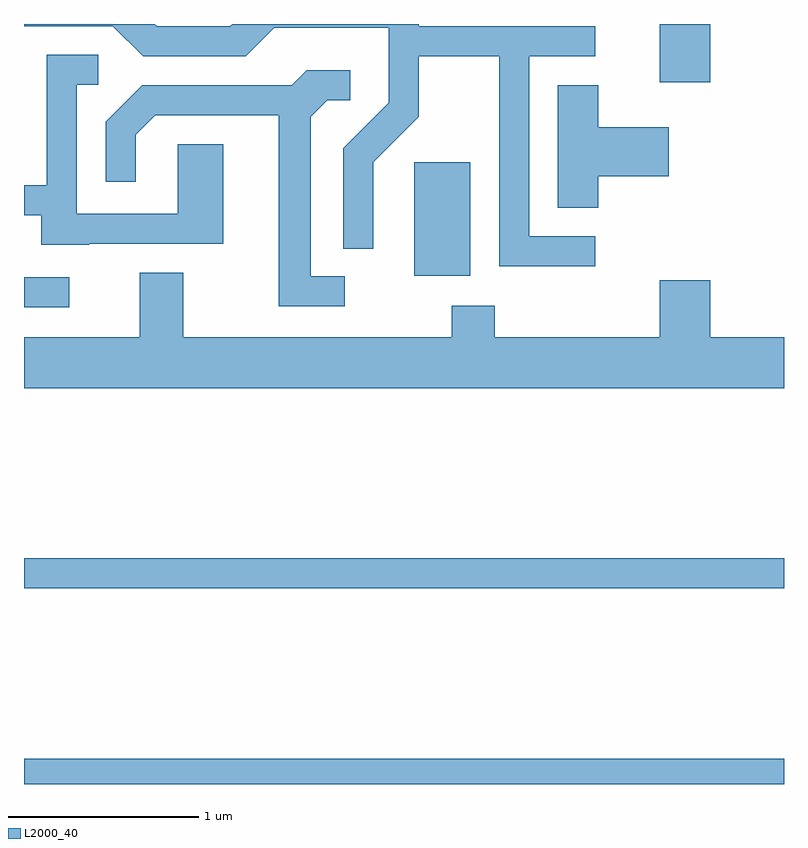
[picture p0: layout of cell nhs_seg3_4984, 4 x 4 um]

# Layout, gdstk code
import gdstk
lib = gdstk.Library(unit=1e-6, precision=1e-09)
def R(c, l, rs):  # rectangles x0, y0, x1, y1
    for r in rs: c.add(gdstk.rectangle(r[:2], r[2:], *l))
def P(c, l, *ps):  # polygons
    for p in ps: c.add(gdstk.Polygon(p, *l))
L2000_40 = (2000, 40)

nhs_seg3_4984 = lib.new_cell('nhs_seg3_4984')
R(nhs_seg3_4984, L2000_40, [(331.611,1163.892,335.611,1164.024), (331.611,1164.921,335.611,1165.079), (331.611,1166.401,331.848,1166.559), (333.666,1166.566,333.959,1167.164), (334.956,1167.586,335.224,1167.892)])
P(nhs_seg3_4984, L2000_40, [(334.618,1166.774),(334.269,1166.774),(334.269,1167.721),(334.618,1167.721),(334.618,1167.879),(333.689,1167.879),(333.689,1167.892),(332.707,1167.892),(332.694,1167.879),(332.312,1167.879),(332.299,1167.892),(331.611,1167.892),(331.611,1167.881),(332.079,1167.881),(332.239,1167.721),(332.777,1167.721),(332.927,1167.871),(333.531,1167.871),(333.531,1167.477),(333.291,1167.237),(333.291,1166.708),(333.449,1166.708),(333.449,1167.164),(333.689,1167.404),(333.689,1167.721),(334.111,1167.721),(334.111,1166.616),(334.618,1166.616)],
  [(331.955,1166.736),(332.659,1166.736),(332.659,1167.259),(332.421,1167.259),(332.421,1166.894),(331.889,1166.894),(331.889,1167.571),(332.003,1167.571),(332.003,1167.729),(331.731,1167.729),(331.731,1167.044),(331.611,1167.044),(331.611,1166.886),(331.701,1166.886),(331.701,1166.731),(331.955,1166.731)],
  [(333.298,1166.564),(333.119,1166.564),(333.119,1167.404),(333.207,1167.491),(333.328,1167.491),(333.328,1167.649),(333.099,1167.649),(333.019,1167.569),(332.234,1167.569),(332.041,1167.377),(332.041,1167.063),(332.199,1167.063),(332.199,1167.309),(332.302,1167.411),(332.951,1167.411),(332.951,1166.406),(333.298,1166.406)],
  [(334.634,1167.091),(335.004,1167.091),(335.004,1167.349),(334.634,1167.349),(334.634,1167.569),(334.421,1167.569),(334.421,1166.926),(334.634,1166.926)],
  [(335.611,1166.244),(335.224,1166.244),(335.224,1166.544),(334.956,1166.544),(334.956,1166.244),(334.089,1166.244),(334.089,1166.409),(333.861,1166.409),(333.861,1166.244),(332.449,1166.244),(332.449,1166.584),(332.221,1166.584),(332.221,1166.244),(331.611,1166.244),(331.611,1165.976),(335.611,1165.976)])

lib.write_gds('nhs_seg3_4984.gds')
